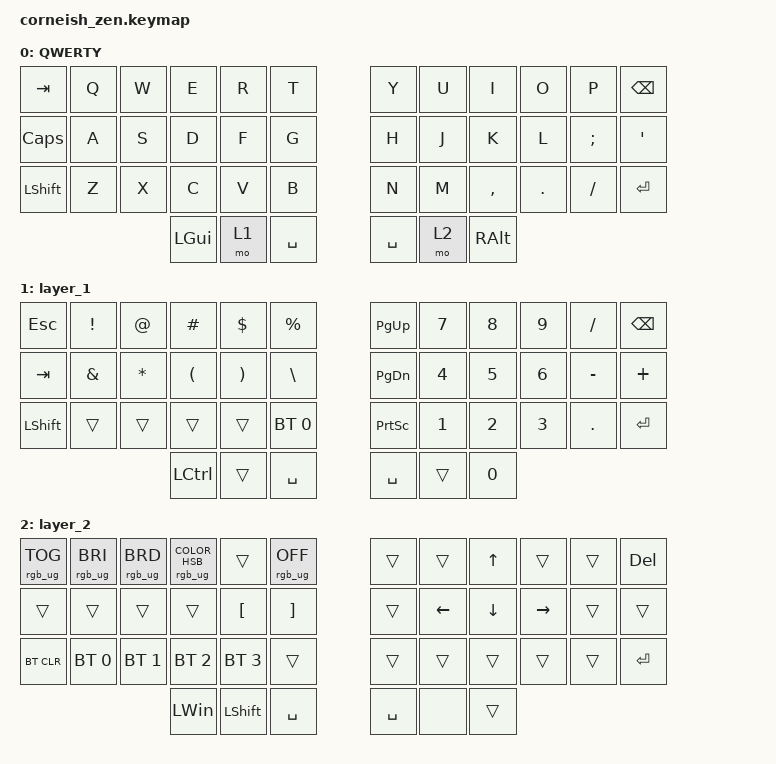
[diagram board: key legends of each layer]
/*
 * Copyright (c) 2020 The ZMK Contributors
 *
 * SPDX-License-Identifier: MIT
 */

#include <behaviors.dtsi>
#include <dt-bindings/zmk/bt.h>
#include <dt-bindings/zmk/keys.h>
#include <dt-bindings/zmk/rgb.h>

/ {
    chosen {
        zmk,matrix_transform = &default_transform;

        // zmk,matrix_transform = &five_column_transform;
    };
};

/ {
    behaviors {
        td0: td0 {
            compatible = "zmk,behavior-tap-dance";
            label = "TD0";
            #binding-cells = <0>;
            bindings = <&kp LEFT_SHIFT>, <&kp CAPS>;
        };
    };

    keymap {
        compatible = "zmk,keymap";

        default_layer {
            display-name = "QWERTY";

            // --------------------------------------------------------------------------------
            // |  TAB |  Q  |  W  |  E  |  R  |  T  |   |  Y  |  U   |  I  |  O  |  P  | BKSP |
            // | CTRL |  A  |  S  |  D  |  F  |  G  |   |  H  |  J   |  K  |  L  |  ;  |  '   | 
            // | SHFT |  Z  |  X  |  C  |  V  |  B  |   |  N  |  M   |  ,  |  .  |  /  | ESC  |
            //                    | GUI | LWR | SPC |   | ENT | RSE  | ALT |

            bindings = <
&kp TAB         &kp Q  &kp W  &kp E     &kp R  &kp T        &kp Y      &kp U  &kp I      &kp O    &kp P     &kp BSPC
&kp CAPSLOCK    &kp A  &kp S  &kp D     &kp F  &kp G        &kp H      &kp J  &kp K      &kp L    &kp SEMI  &kp SQT
&kp LEFT_SHIFT  &kp Z  &kp X  &kp C     &kp V  &kp B        &kp N      &kp M  &kp COMMA  &kp DOT  &kp FSLH  &kp ENTER
                              &kp LGUI  &mo 1  &kp SPACE    &kp SPACE  &mo 2  &kp RALT
            >;
        };

        layer_1 {
            bindings = <
&kp ESCAPE      &kp EXCLAMATION  &kp AT_SIGN   &kp HASH              &kp DOLLAR             &kp PERCENT      &kp PAGE_UP      &kp N7        &kp N8        &kp N9        &kp SLASH   &kp BACKSPACE
&kp TAB         &kp AMPERSAND    &kp ASTERISK  &kp LEFT_PARENTHESIS  &kp RIGHT_PARENTHESIS  &kp BACKSLASH    &kp PAGE_DOWN    &kp NUMBER_4  &kp N5        &kp NUMBER_6  &kp MINUS   &kp PLUS
&kp LEFT_SHIFT  &trans           &trans        &trans                &trans                 &bt BT_SEL 0     &kp PRINTSCREEN  &kp NUMBER_1  &kp NUMBER_2  &kp NUMBER_3  &kp PERIOD  &kp ENTER
                                               &kp LEFT_CONTROL      &trans                 &kp SPACE        &kp SPACE        &trans        &kp N0
            >;
        };

        layer_2 {
            bindings = <
&rgb_ug RGB_TOG  &rgb_ug RGB_BRI  &rgb_ug RGB_BRD  &rgb_ug RGB_COLOR_HSB(285,75,56)  &trans            &rgb_ug RGB_OFF      &trans     &trans    &kp UP_ARROW  &trans     &trans  &kp DELETE
&trans           &trans           &trans           &trans                            &kp LEFT_BRACKET  &kp RIGHT_BRACKET    &trans     &kp LEFT  &kp DOWN      &kp RIGHT  &trans  &trans
&bt BT_CLR       &bt BT_SEL 0     &bt BT_SEL 1     &bt BT_SEL 2                      &bt BT_SEL 3      &trans               &trans     &trans    &trans        &trans     &trans  &kp ENTER
                                                   &kp LEFT_WIN                      &kp LEFT_SHIFT    &kp SPACE            &kp SPACE  &none     &trans
            >;
        };
    };
};
